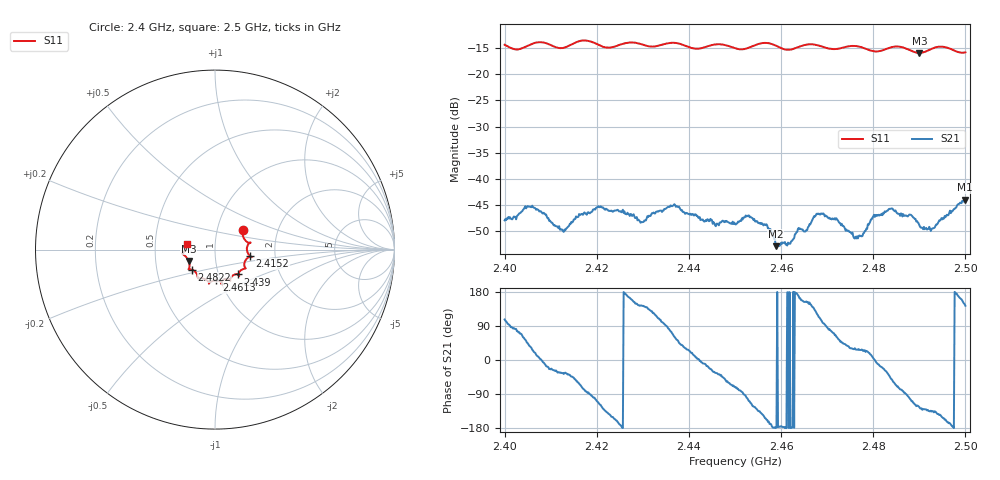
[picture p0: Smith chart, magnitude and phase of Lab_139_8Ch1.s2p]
# Hz S RI R 50
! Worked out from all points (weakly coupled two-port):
!   601 points, 2.4 GHz to 2.5 GHz, reference 50 ohm
!   highest |S21| = -43.95 dB at 2.4998 GHz (marker M1); lowest = -52.8 dB at 2.4588 GHz (marker M2)
!   lowest |S11| = -15.9 dB at 2.49 GHz (marker M3), VSWR 1.38, Z = 37 - j4.83 ohm
!   |S11| at or under -10 dB: start of sweep to end of sweep
!   S12 and S22 are empty: the file has one direction only
!   S11 on the Smith chart (normalised r, x): 2.4 GHz: 1.33, +0.31; 2.4152 GHz: 1.48, -0.11; 2.439 GHz: 1.24, -0.36; 2.4613 GHz: 0.96, -0.34; 2.4822 GHz: 0.76, -0.17; 2.5 GHz: 0.73, +0.05
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2.4e9  0.1553 0.1115  -0.00117 0.00385  0 0  0 0
2.4055e9  0.1876 0.0383  0.00441 0.00319  0 0  0 0
2.4125e9  0.1776 -0.00147  0.0027 -0.00186  0 0  0 0
2.415167e9  0.1953 -0.036  0.00264 -0.00316  0 0  0 0
2.416667e9  0.2051 -0.0422  0.00159 -0.00436  0 0  0 0
2.420833e9  0.1806 -0.0476  -0.00262 -0.00482  0 0  0 0
2.429833e9  0.1602 -0.1074  -0.00309 0.00233  0 0  0 0
2.433333e9  0.1323 -0.1325  -0.00166 0.00458  0 0  0 0
2.439e9  0.1279 -0.1387  0.00403 0.00262  0 0  0 0
2.45e9  0.0689 -0.1633  0.00122 -0.00351  0 0  0 0
2.453167e9  0.0381 -0.1764  -0.00141 -0.00407  0 0  0 0
2.458833e9  0.0355 -0.1843  -0.00228 -1.62e-05  0 0  0 0
2.461333e9  0.00746 -0.1709  -0.00231 6.42e-05  0 0  0 0
2.466667e9  -0.0339 -0.1903  -0.00313 0.00243  0 0  0 0
2.469167e9  -0.037 -0.1784  -0.000571 0.00465  0 0  0 0
2.476333e9  -0.0946 -0.1598  0.0024 0.00125  0 0  0 0
2.482167e9  -0.1283 -0.1116  0.0044 -0.00181  0 0  0 0
2.483333e9  -0.1394 -0.11  0.00399 -0.00322  0 0  0 0
2.49e9  -0.1465 -0.0637  -0.00204 -0.00299  0 0  0 0
2.492833e9  -0.1735 -0.029  -0.00237 -0.00239  0 0  0 0
2.499833e9  -0.1583 0.031  -0.00535 0.00341  0 0  0 0
2.5e9  -0.1583 0.0339  -0.00498 0.00374  0 0  0 0
